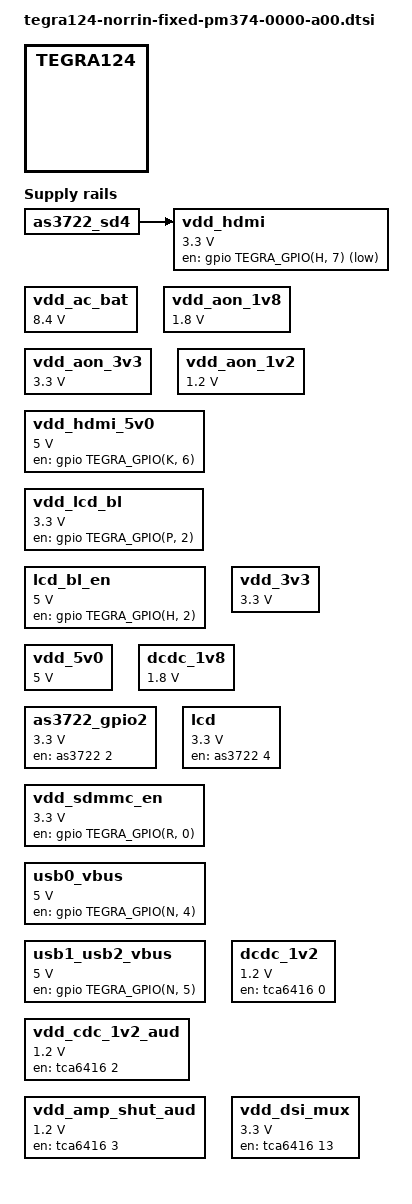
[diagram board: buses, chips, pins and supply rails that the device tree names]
#include <dt-bindings/gpio/tegra-gpio.h>

/ {
	regulators {
		compatible = "simple-bus";
		#address-cells = <1>;
		#size-cells = <0>;

		vdd_ac_bat: regulator@0 {
			compatible = "regulator-fixed";
			reg = <0>;
			regulator-name = "vdd-ac-bat";
			regulator-min-microvolt = <8400000>;
			regulator-max-microvolt = <8400000>;

			consumers {
				c0 {
					regulator-consumer-supply = "vdd_sys_bl";
				};
				c1 {
					regulator-consumer-supply = "vddio_pex_sata";
					regulator-consumer-device = "tegra-sata.0";
				};
			};
		};

		vdd_aon_1v8: regulator@1 {
			compatible = "regulator-fixed";
			reg = <1>;
			regulator-name = "vdd-aon-1v8";
			regulator-min-microvolt = <1800000>;
			regulator-max-microvolt = <1800000>;

			consumers {
				c0 {
					regulator-consumer-supply = "vdd_1v8_emmc";
				};
				c1 {
					regulator-consumer-supply = "vdd_1v8b_com_f";
				};
				c2 {
					regulator-consumer-supply = "vdd_1v8b_gps_f";
				};
				c3 {
					regulator-consumer-supply = "vdd";
					regulator-consumer-device = "0-004c";
				};
			};
		};

		vdd_aon_3v3: regulator@2 {
			compatible = "regulator-fixed";
			reg = <2>;
			regulator-name = "vdd-aon-3v3";
			regulator-min-microvolt = <3300000>;
			regulator-max-microvolt = <3300000>;

			consumers {
				c0 {
					regulator-consumer-supply = "vdd_3v3_emmc";
				};
				c1 {
					regulator-consumer-supply = "vdd_com_3v3";
				};
			};
		};

		vdd_aon_1v2: regulator@3 {
			compatible = "regulator-fixed";
			reg = <3>;
			regulator-name = "vdd-aon-1v2";
			regulator-min-microvolt = <1200000>;
			regulator-max-microvolt = <1200000>;

			consumers {
				c0 {
					regulator-consumer-supply = "vdd_1v2_bb_hsic";
				};
			};
		};

		vdd_hdmi_5v0: regulator@4 {
			compatible = "regulator-fixed-sync";
			reg = <4>;
			regulator-name = "vdd_hdmi_5v0";
			regulator-min-microvolt = <5000000>;
			regulator-max-microvolt = <5000000>;
			gpio = <&gpio TEGRA_GPIO(K, 6) 0>;
			enable-active-high;

			consumers {
				c0 {
					regulator-consumer-supply = "vdd_hdmi_5v0";
					regulator-consumer-device = "tegradc.1";
				};
			};
		};

		vdd_hdmi: regulator@5 {
			compatible = "regulator-fixed-sync";
			reg = <5>;
			regulator-name = "vdd_hdmi";
			regulator-min-microvolt = <3300000>;
			regulator-max-microvolt = <3300000>;
			gpio = <&gpio TEGRA_GPIO(H, 7) 0>;
			vin-supply = <&as3722_sd4>;

			consumers {
				c0 {
					regulator-consumer-supply = "avdd_hdmi_pll";
					regulator-consumer-device = "tegradc.1";
				};
			};
		};

		vdd_lcd_bl: regulator@6 {
			compatible = "regulator-fixed-sync";
			reg = <6>;
			regulator-name = "vdd_lcd_bl";
			regulator-min-microvolt = <3300000>;
			regulator-max-microvolt = <3300000>;
			gpio = <&gpio TEGRA_GPIO(P, 2) 0>;
			enable-active-high;

			consumers {
				c0 {
					regulator-consumer-supply = "vdd_lcd_bl";
				};
			};
		};

		lcd_bl_en: regulator@7 {
			compatible = "regulator-fixed-sync";
			reg = <7>;
			regulator-name = "lcd_bl_en";
			regulator-min-microvolt = <5000000>;
			regulator-max-microvolt = <5000000>;
			gpio = <&gpio TEGRA_GPIO(H, 2) 0>;
			enable-active-high;

			consumers {
				c0 {
					regulator-consumer-supply = "vdd_lcd_bl_en";
				};
			};
		};

		vdd_3v3: regulator@8 {
			compatible = "regulator-fixed";
			reg = <8>;
			regulator-name = "vdd_3v3";
			regulator-min-microvolt = <3300000>;
			regulator-max-microvolt = <3300000>;

			consumers {
				c0 {
					regulator-consumer-supply = "hvdd_pex";
				};
				c1 {
					regulator-consumer-supply = "hvdd_pex_pll";
				};
				c2 {
					regulator-consumer-supply = "vdd_sys_cam_3v3";
				};
				c3 {
					regulator-consumer-supply = "micvdd";
					regulator-consumer-device = "tegra-snd-rt5645.0";
				};
				c4 {
					regulator-consumer-supply = "micvdd";
					regulator-consumer-device = "tegra-snd-rt5639.0";
				};
				c5 {
					regulator-consumer-supply = "vdd_gps_3v3";
				};
				c6 {
					regulator-consumer-supply = "vdd_nfc_3v3";
				};
				c7 {
					regulator-consumer-supply = "vdd_3v3_sensor";
				};
				c8 {
					regulator-consumer-supply = "vdd_kp_3v3";
				};
				c9 {
					regulator-consumer-supply = "vdd_tp_3v3";
				};
				c10 {
					regulator-consumer-supply = "vdd_dtv_3v3";
				};
				c11 {
					regulator-consumer-supply = "vdd_modem_3v3";
				};
				c12 {
					regulator-consumer-supply = "vdd";
					regulator-consumer-device = "0-0048";
				};
				c13 {
					regulator-consumer-supply = "vdd";
					regulator-consumer-device = "0-0069";
				};
				c14 {
					regulator-consumer-supply = "vdd";
					regulator-consumer-device = "0-000c";
				};
				c15 {
					regulator-consumer-supply = "vdd";
					regulator-consumer-device = "0-0077";
				};
				c16 {
					regulator-consumer-supply = "vin";
					regulator-consumer-device = "2-0030";
				};
			};
		};

		vdd_5v0: regulator@9 {
			compatible = "regulator-fixed";
			reg = <9>;
			regulator-name = "vdd_5v0";
			regulator-min-microvolt = <5000000>;
			regulator-max-microvolt = <5000000>;

			consumers {
				c0 {
					regulator-consumer-supply = "spkvdd";
					regulator-consumer-device = "tegra-snd-rt5645.0";
				};
				c1 {
					regulator-consumer-supply = "spkvdd";
					regulator-consumer-device = "tegra-snd-rt5639.0";
				};
				c2 {
					regulator-consumer-supply = "vdd_5v0_sensor";
				};
			};
		};

		dcdc_1v8: regulator@10 {
			compatible = "regulator-fixed";
			reg = <10>;
			regulator-name = "dcdc_1v8";
			regulator-min-microvolt = <1800000>;
			regulator-max-microvolt = <1800000>;

			consumers {
				c0 {
					regulator-consumer-supply = "avdd_lvds0_pll";
				};
				c1 {
					regulator-consumer-supply = "dvdd_lcd";
				};
				c2 {
					regulator-consumer-supply = "vdd_ds_1v8";
				};
				c3 {
					regulator-consumer-supply = "avdd";
					regulator-consumer-device = "tegra-snd-rt5645.0";
				};
				c4 {
					regulator-consumer-supply = "dbvdd";
					regulator-consumer-device = "tegra-snd-rt5645.0";
				};
				c5 {
					regulator-consumer-supply = "avdd";
					regulator-consumer-device = "tegra-snd-rt5639.0";
				};
				c6 {
					regulator-consumer-supply = "dbvdd";
					regulator-consumer-device = "tegra-snd-rt5639.0";
				};
				c7 {
					regulator-consumer-supply = "dmicvdd";
					regulator-consumer-device = "tegra-snd-rt5639.0";
				};
				c8 {
					regulator-consumer-supply = "dmicvdd";
					regulator-consumer-device = "tegra-snd-rt5645.0";
				};
				c9 {
					regulator-consumer-supply = "vdd_1v8b_nfc";
				};
				c10 {
					regulator-consumer-supply = "vdd_1v8_sensor";
				};
				c11 {
					regulator-consumer-supply = "vdd_1v8_sdmmc";
				};
				c12 {
					regulator-consumer-supply = "vdd_kp_1v8";
				};
				c13 {
					regulator-consumer-supply = "vdd_tp_1v8";
				};
				c14 {
					regulator-consumer-supply = "vdd_modem_1v8";
				};
				c15 {
					regulator-consumer-supply = "vdd_1v8b";
					regulator-consumer-device = "0-0048";
				};
				c16 {
					regulator-consumer-supply = "dvdd";
					regulator-consumer-device = "spi0.0";
				};
				c17 {
					regulator-consumer-supply = "dvdd";
					regulator-consumer-device = "spi2.1";
				};
				c18 {
					regulator-consumer-supply = "vlogic";
					regulator-consumer-device = "0-0069";
				};
				c19 {
					regulator-consumer-supply = "vid";
					regulator-consumer-device = "0-000c";
				};
				c20 {
					regulator-consumer-supply = "vddio";
					regulator-consumer-device = "0-0077";
				};
				c21 {
					regulator-consumer-supply = "avdd_pll_utmip";
					regulator-consumer-device = "tegra-udc.0";
				};
				c22 {
					regulator-consumer-supply = "avdd_pll_utmip";
					regulator-consumer-device = "tegra-ehci.0";
				};
				c23 {
					regulator-consumer-supply = "avdd_pll_utmip";
					regulator-consumer-device = "tegra-ehci.1";
				};
				c24 {
					regulator-consumer-supply = "avdd_pll_utmip";
					regulator-consumer-device = "tegra-ehci.2";
				};
			};
		};

		as3722_gpio2: regulator@11 {
			compatible = "regulator-fixed-sync";
			reg = <11>;
			regulator-name = "as3722_gpio2";
			regulator-min-microvolt = <3300000>;
			regulator-max-microvolt = <3300000>;
			regulator-boot-on;
			gpio = <&as3722 2 0>;
			enable-active-high;

			consumers {
				c0 {
					regulator-consumer-supply = "avdd_usb";
					regulator-consumer-device = "tegra-udc.0";
				};
				c1 {
					regulator-consumer-supply = "avdd_usb";
					regulator-consumer-device = "tegra-ehci.0";
				};
				c2 {
					regulator-consumer-supply = "avdd_usb";
					regulator-consumer-device = "tegra-ehci.1";
				};
				c3 {
					regulator-consumer-supply = "avdd_usb";
					regulator-consumer-device = "tegra-ehci.2";
				};
				c5 {
					regulator-consumer-supply = "vddio_hv";
					regulator-consumer-device = "tegradc.1";
				};
				c7 {
					regulator-consumer-supply = "hvdd_sata";
				};
			};
		};

		lcd: regulator@12 {
			compatible = "regulator-fixed-sync";
			reg = <12>;
			regulator-name = "lcd";
			regulator-min-microvolt = <3300000>;
			regulator-max-microvolt = <3300000>;
			gpio = <&as3722 4 0>;
			enable-active-high;

			consumers {
				c0 {
					regulator-consumer-supply = "avdd_lcd";
				};
			};
		};

		vdd_sdmmc_en: regulator@13 {
			compatible = "regulator-fixed-sync";
			reg = <13>;
			regulator-name = "vdd_sdmmc_en";
			regulator-min-microvolt = <3300000>;
			regulator-max-microvolt = <3300000>;
			gpio = <&gpio TEGRA_GPIO(R, 0) 0>;
			enable-active-high;

			consumers {
				c0 {
					regulator-consumer-supply = "vddio_sd_slot";
					regulator-consumer-device = "sdhci-tegra.1";
				};
				c1 {
					regulator-consumer-supply = "vddio_sd_slot";
					regulator-consumer-device = "sdhci-tegra.2";
				};
			};
		};

		usb0_vbus: regulator@14 {
			compatible = "regulator-fixed-sync";
			reg = <14>;
			regulator-name = "usb0_vbus";
			regulator-min-microvolt = <5000000>;
			regulator-max-microvolt = <5000000>;
			gpio = <&gpio TEGRA_GPIO(N, 4) 0>;
			enable-active-high;
			gpio-open-drain;

			consumers {
				c0 {
					regulator-consumer-supply = "usb_vbus";
					regulator-consumer-device = "tegra-ehci.0";
				};
				c1 {
					regulator-consumer-supply = "usb_vbus";
					regulator-consumer-device = "tegra-otg";
				};
			};
		};

		usb1_usb2_vbus: regulator@15 {
			compatible = "regulator-fixed-sync";
			reg = <15>;
			regulator-name = "usb1_usb2_vbus";
			regulator-min-microvolt = <5000000>;
			regulator-max-microvolt = <5000000>;
			gpio = <&gpio TEGRA_GPIO(N, 5) 0>;
			enable-active-high;
			gpio-open-drain;

			consumers {
				c0 {
					regulator-consumer-supply = "usb_vbus";
					regulator-consumer-device = "tegra-ehci.1";
				};
				c2 {
					regulator-consumer-supply = "usb_vbus";
					regulator-consumer-device = "tegra-ehci.2";
				};
			};
		};

		dcdc_1v2: regulator@16 {
			compatible = "regulator-fixed-sync";
			reg = <16>;
			regulator-name = "dcdc_1v2";
			regulator-min-microvolt = <1200000>;
			regulator-max-microvolt = <1200000>;
			gpio = <&tca6416 0 0>;
			enable-active-high;

			consumers {
				c0 {
					regulator-consumer-supply = "vdd_1v2_en";
				};
			};
		};

		vdd_cdc_1v2_aud: regulator@17 {
			compatible = "regulator-fixed-sync";
			reg = <17>;
			regulator-name = "vdd_cdc_1v2_aud";
			regulator-min-microvolt = <1200000>;
			regulator-max-microvolt = <1200000>;
			gpio = <&tca6416 2 0>;
			enable-active-high;
			startup-delay-us = <250000>;

			consumers {
				c0 {
					regulator-consumer-supply = "ldoen";
					regulator-consumer-device = "tegra-snd-rt5639.0";
				};
			};
		};

		vdd_amp_shut_aud: regulator@18 {
			compatible = "regulator-fixed-sync";
			reg = <18>;
			regulator-name = "vdd_amp_shut_aud";
			regulator-min-microvolt = <1200000>;
			regulator-max-microvolt = <1200000>;
			gpio = <&tca6416 3 0>;
			enable-active-high;

			consumers {
				c0 {
					regulator-consumer-supply = "epamp";
					regulator-consumer-device = "tegra-snd-rt5645.0";
				};
			};
		};

		vdd_dsi_mux: regulator@19 {
			compatible = "regulator-fixed-sync";
			reg = <19>;
			regulator-name = "vdd_dsi_mux";
			regulator-min-microvolt = <3300000>;
			regulator-max-microvolt = <3300000>;
			gpio = <&tca6416 13 0>;
			enable-active-high;

			consumers {
				c0 {
					regulator-consumer-supply = "vdd_3v3_dsi";
					regulator-consumer-device = "NULL";
				};
			};
		};
	};
};
